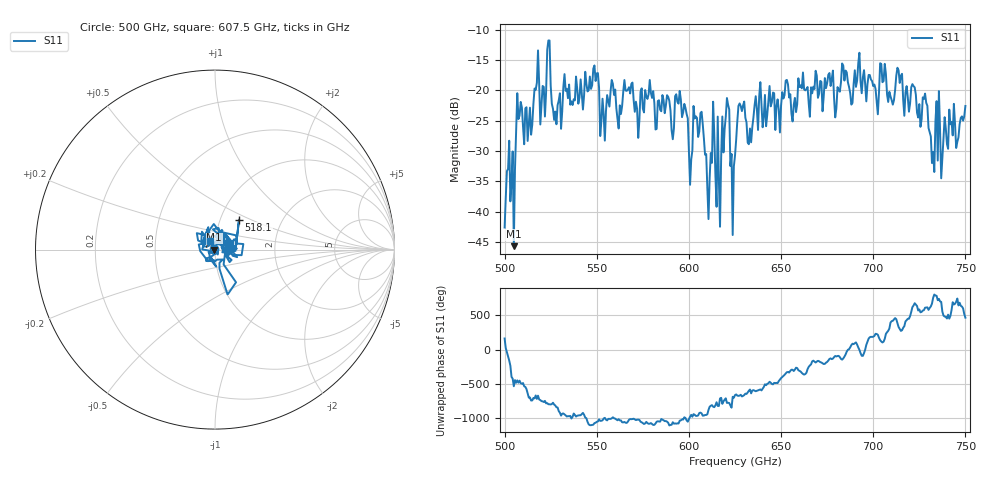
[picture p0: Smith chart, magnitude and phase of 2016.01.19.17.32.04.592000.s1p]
!Created with skrf (http://scikit-rf.org).
# GHz S RI R 50.0
!freq ReS11 ImS11
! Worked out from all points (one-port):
!   401 points, 500 GHz to 750 GHz, reference 50 ohm
!   lowest |S11| = -45.7 dB at 505 GHz (marker M1), VSWR 1.01, Z = 49.5 - j0.076 ohm
!   |S11| at or under -10 dB: start of sweep to end of sweep
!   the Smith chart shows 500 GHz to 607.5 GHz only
!   S11 on the Smith chart (normalised r, x): 500 GHz: 0.99, +0.00; 518.1 GHz: 1.23, +0.43; 607.5 GHz: 0.95, +0.09
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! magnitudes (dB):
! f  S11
! 500 GHz  -42.6
! 505 GHz  -45.7
! 508.1 GHz  -24.1
! 513.8 GHz  -22.8
! 518.1 GHz  -13.4
! 523.8 GHz  -11.7
! 526.9 GHz  -24.9
! 531.2 GHz  -23.5
! 549.4 GHz  -18.4
! 553.1 GHz  -21.4
! 558.8 GHz  -18.9
! 562.5 GHz  -22.5
! 593.8 GHz  -21.9
! 600.6 GHz  -35.6
! 607.5 GHz  -25.6
! 610 GHz  -36.2
! 613.1 GHz  -21.8
! 616.2 GHz  -34.7
! 620.6 GHz  -21.2
! 625 GHz  -30.8
! 628.1 GHz  -22.6
! 633.1 GHz  -26.3
! 656.2 GHz  -25.1
! 687.5 GHz  -20.4
! 718.8 GHz  -21.1
! 728.1 GHz  -20.5
! 731.9 GHz  -32.0
! 750 GHz  -22.6
